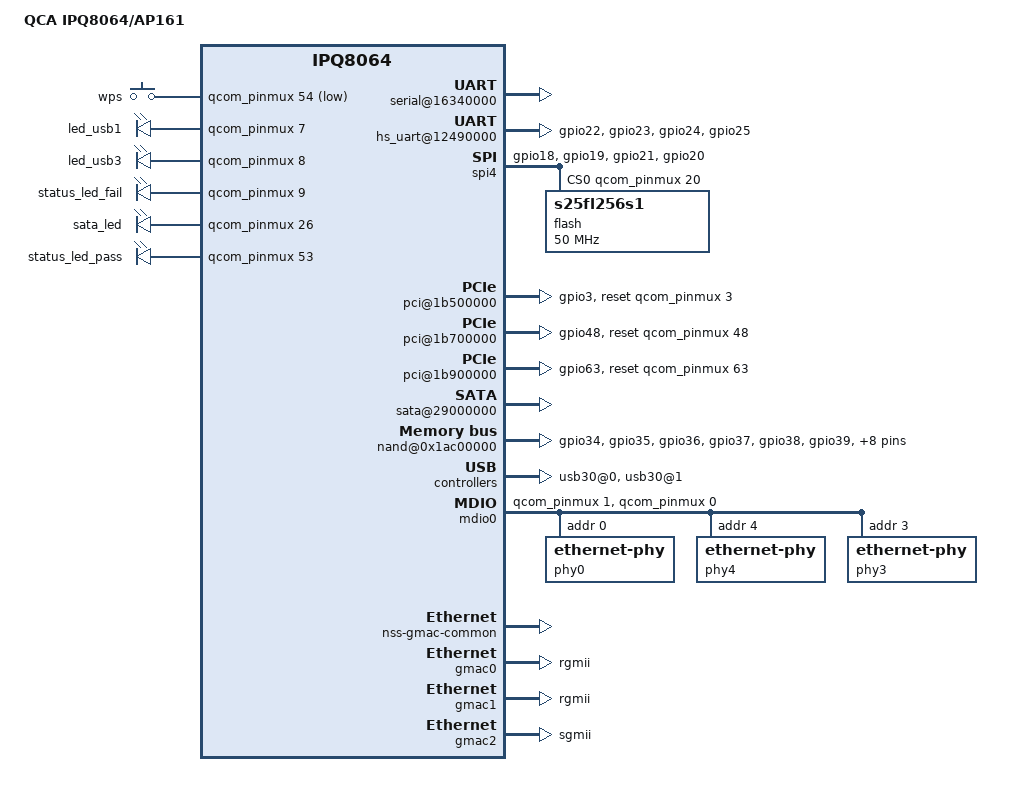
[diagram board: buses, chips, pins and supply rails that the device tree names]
/* Copyright (c) 2015, 2016 The Linux Foundation. All rights reserved.
 *
 * Permission to use, copy, modify, and/or distribute this software for any
 * purpose with or without fee is hereby granted, provided that the above
 * copyright notice and this permission notice appear in all copies.
 *
 * THE SOFTWARE IS PROVIDED "AS IS" AND THE AUTHOR DISCLAIMS ALL WARRANTIES
 * WITH REGARD TO THIS SOFTWARE INCLUDING ALL IMPLIED WARRANTIES OF
 * MERCHANTABILITY AND FITNESS. IN NO EVENT SHALL THE AUTHOR BE LIABLE FOR
 * ANY SPECIAL, DIRECT, INDIRECT, OR CONSEQUENTIAL DAMAGES OR ANY DAMAGES
 * WHATSOEVER RESULTING FROM LOSS OF USE, DATA OR PROFITS, WHETHER IN AN
 * ACTION OF CONTRACT, NEGLIGENCE OR OTHER TORTIOUS ACTION, ARISING OUT OF
 * OR IN CONNECTION WITH THE USE OR PERFORMANCE OF THIS SOFTWARE.
 *
 */

#include <dt-bindings/interrupt-controller/arm-gic.h>
#include <dt-bindings/interrupt-controller/irq.h>
#include <dt-bindings/input/input.h>
#include <dt-bindings/gpio/gpio.h>

/ {
	model = "QCA IPQ8064/AP161";
	compatible = "qcom,ipq8064-ap161", "qcom,ipq8064";

	reserved-memory {
		#address-cells = <1>;
		#size-cells = <1>;
		ranges;
		rsvd@41200000 {
			reg = <0x41200000 0x300000>;
			no-map;
		};
	};

	aliases {
		mdio-gpio0 = &mdio0;
		/*
		 * U-Boot searches for these entries and patches
		 * 'local-mac-address'
		 */
		ethernet0 = &gmac0;
		ethernet1 = &gmac1;
		ethernet2 = &gmac2;
	};

	soc {
		pinmux@800000 {
			pinctrl-0 = <&rgmii2_pins_default>;
			pinctrl-names = "default";

			pcie1_pins: pcie1_pinmux {
				mux {
					pins = "gpio3";
					drive-strength = <2>;
					bias-disable;
				};
			};

			pcie2_pins: pcie2_pinmux {
				mux {
					pins = "gpio48";
					drive-strength = <2>;
					bias-disable;
				};
			};

			pcie3_pins: pcie3_pinmux {
				mux {
					pins = "gpio63";
					drive-strength = <2>;
					bias-disable;
				};
			};

			spi_pins: spi_pins {
				mux {
					pins = "gpio18", "gpio19", "gpio21";
					function = "gsbi5";
					drive-strength = <10>;
					bias-none;
				};
				cs {
					pins = "gpio20";
					drive-strength = <12>;
				};
			};
			nand_pins: nand_pins {
				mux {
					pins = "gpio34", "gpio35", "gpio36",
						"gpio37", "gpio38", "gpio39",
						"gpio40", "gpio41", "gpio42",
						"gpio43", "gpio44", "gpio45",
						"gpio46", "gpio47";
					function = "nand";
					drive-strength = <10>;
					bias-disable;
				};
				pullups {
					pins = "gpio39";
					bias-pull-up;
				};
				hold {
					pins = "gpio40", "gpio41", "gpio42",
						"gpio43", "gpio44", "gpio45",
						"gpio46", "gpio47";
					bias-bus-hold;
				};
			};
			rgmii2_pins_default: rgmii2_pins_default {
				mux {
					pins = "gpio2", "gpio27", "gpio28",
						"gpio29", "gpio30", "gpio31",
						"gpio32", "gpio51", "gpio52",
						"gpio59", "gpio60", "gpio61",
						 "gpio62", "gpio66" ;
					function = "rgmii2";
					drive-strength = <8>;
					bias-disable;
				};

			};

			hs_uart_pins: hs_uart_pins {
				mux {
					pins = "gpio22", "gpio23", "gpio24", "gpio25" ;
					function = "gsbi2";
					drive-strength = <12>;
					bias-disable;
				};
			};

			i2c_pins: i2c_pins {
				mux {
					pins = "gpio53", "gpio54" ;
					function = "gsbi1";
					drive-strength = <12>;
					bias-disable;
				};
			};

			leds_pins: leds_pins {
				mux {
					pins = "gpio7", "gpio8", "gpio9",
					       "gpio26", "gpio53";
					function = "gpio";
					drive-strength = <2>;
					bias-pull-down;
					output-low;
				};
			};
		};

		gsbi1: gsbi@12440000 {
			qcom,mode = <GSBI_PROT_I2C>;
			status = "ok";
			i2c@12460000 {
				pinctrl-0 = <&i2c_pins>;
				pinctrl-names = "default";
				status = "disabled";
			};
		};

		gsbi@16300000 {
			qcom,mode = <GSBI_PROT_I2C_UART>;
			status = "ok";
			serial@16340000 {
				status = "ok";
			};
		};

		gsbi2: gsbi@12480000 {
			qcom,mode = <GSBI_PROT_UART_W_FC>;
			status = "ok";
			hs_uart@12490000 {
				uartdm_rx_buf_size = <1024>;
				qcom,rx-chan = <8>;
				qcom,tx-chan = <7>;
				qcom,rx-crci = <14>;
				qcom,tx-crci = <4>;
				qcom,tcsr_adm_mux_sel_reg = <IPQ806X_TCSR_REG_A_ADM_CRCI_MUX_SEL>;
				qcom,tcsr_adm_mux_sel_reg_mask = <IPQ806X_GSBI2_ADM_CRCI_MUX_SEL_MASK>;
				qcom,tcsr_adm_mux_sel_reg_value = <GSBI_CRCI_UART>;
				pinctrl-0 = <&hs_uart_pins>;
				pinctrl-names = "default";

				status = "ok";
			};
		};

		gsbi5: gsbi@1a200000 {
			qcom,mode = <GSBI_PROT_SPI>;
			status = "ok";

			spi4: spi@1a280000 {
				status = "ok";
				spi-max-frequency = <50000000>;

				pinctrl-0 = <&spi_pins>;
				pinctrl-names = "default";

				cs-gpios = <&qcom_pinmux 20 0>;

				dmas = <&adm_dma 6 9>,
					<&adm_dma 5 10>;
				dma-names = "rx", "tx";

				flash: m25p80@0 {
					compatible = "s25fl256s1";
					#address-cells = <1>;
					#size-cells = <1>;
					spi-max-frequency = <50000000>;
					reg = <0>;
					m25p,fast-read;
				};
			};
		};

		sata-phy@1b400000 {
			status = "ok";
		};

		pci@1b500000 {
			status = "ok";
			reset-gpio = <&qcom_pinmux 3 0>;
			pinctrl-0 = <&pcie1_pins>;
			pinctrl-names = "default";

			ranges = <0x00000000 0 0x00000000 0x0ff00000 0 0x00100000   /* configuration space */
				  0x81000000 0 0	  0x0fe00000 0 0x00100000   /* downstream I/O */
				  0x82000000 0 0x00000000 0x08000000 0 0x07e00000>; /* non-prefetchable memory */

			pcie@0 {
				reg = <0 0 0 0 0>;
				#interrupt-cells = <1>;
				#size-cells = <2>;
				#address-cells = <3>;
				device_type = "pci";

				ath10k@0,0 {
					reg = <0 0 0 0 0>;
					device_type = "pci";
					qcom,mtd-name = "0:ART";
					qcom,cal-offset = <0x1000>;
					qcom,cal-len = <12064>;
				};
			};

		};

		pci@1b700000 {
			status = "ok";
			reset-gpio = <&qcom_pinmux 48 0>;
			pinctrl-0 = <&pcie2_pins>;
			pinctrl-names = "default";

			ranges = <0x00000000 0 0x00000000 0x31f00000 0 0x00100000   /* configuration space */
				  0x81000000 0 0	  0x31e00000 0 0x00100000   /* downstream I/O */
				  0x82000000 0 0x00000000 0x2e000000 0 0x03e00000>; /* non-prefetchable memory */

			pcie@0 {
				reg = <0 0 0 0 0>;
				#interrupt-cells = <1>;
				#size-cells = <2>;
				#address-cells = <3>;
				device_type = "pci";

				ath10k@0,0 {
					reg = <0 0 0 0 0>;
					device_type = "pci";
					qcom,mtd-name = "0:ART";
					qcom,cal-offset = <0x5000>;
					qcom,cal-len = <12064>;
				};
			};
		};

		pci@1b900000 {
			status = "ok";
			reset-gpio = <&qcom_pinmux 63 0>;
			pinctrl-0 = <&pcie3_pins>;
			pinctrl-names = "default";

			ranges = <0x00000000 0 0x00000000 0x35f00000 0 0x00100000   /* configuration space */
				  0x81000000 0 0          0x35e00000 0 0x00100000   /* downstream I/O */
				  0x82000000 0 0x00000000 0x32000000 0 0x03e00000>; /* non-prefetchable memory */

			pcie@0 {
				reg = <0 0 0 0 0>;
				#interrupt-cells = <1>;
				#size-cells = <2>;
				#address-cells = <3>;
				device_type = "pci";

				ath10k@0,0 {
					reg = <0 0 0 0 0>;
					device_type = "pci";
					qcom,mtd-name = "0:ART";
					qcom,cal-offset = <0x9000>;
					qcom,cal-len = <2116>;
				};
			};
		};

		sata@29000000 {
			status = "ok";
		};

		dma@18300000 {
			status = "ok";
		};

		nand@0x1ac00000 {
			status = "ok";

			pinctrl-0 = <&nand_pins>;
			pinctrl-names = "default";
		};

		tcsr@1a400000 {
			status = "ok";
		};

		phy@100f8800 {		/* USB3 port 1 HS phy */
			status = "ok";
		};

		phy@100f8830 {		/* USB3 port 1 SS phy */
			status = "ok";
		};

		phy@110f8800 {		/* USB3 port 0 HS phy */
			status = "ok";
		};

		phy@110f8830 {		/* USB3 port 0 SS phy */
			status = "ok";
		};

		usb30@0 {
			status = "ok";
		};

		usb30@1 {
			status = "ok";
		};

		gpio_keys {
			compatible = "gpio-keys";

			button@1 {
				label = "wps";
				linux,code = <KEY_WPS_BUTTON>;
				gpios = <&qcom_pinmux 54 GPIO_ACTIVE_LOW>;
				linux,input-type = <1>;
				debounce-interval = <60>;
			};
		};

		leds {
			compatible = "gpio-leds";
			pinctrl-0 = <&leds_pins>;
			pinctrl-names = "default";

			led@7 {
				label = "led_usb1";
				gpios = <&qcom_pinmux 7 GPIO_ACTIVE_HIGH>;
				linux,default-trigger = "usbdev";
				default-state = "off";
			};

			led@8 {
				label = "led_usb3";
				gpios = <&qcom_pinmux 8 GPIO_ACTIVE_HIGH>;
				linux,default-trigger = "usbdev";
				default-state = "off";
			};

			led@9 {
				label = "status_led_fail";
				gpios = <&qcom_pinmux 9 GPIO_ACTIVE_HIGH>;
				default-state = "off";
			};

			led@26 {
				label = "sata_led";
				gpios = <&qcom_pinmux 26 GPIO_ACTIVE_HIGH>;
				default-state = "off";
			};

			led@53 {
				label = "status_led_pass";
				gpios = <&qcom_pinmux 53 GPIO_ACTIVE_HIGH>;
				default-state = "off";
			};
		};

		mdio0: mdio {
			compatible = "virtual,mdio-gpio";
			#address-cells = <1>;
			#size-cells = <0>;
			gpios = <&qcom_pinmux 1 0 &qcom_pinmux 0 0>;

			phy0: ethernet-phy@0 {
				device_type = "ethernet-phy";
				reg = <0>;
				qca,ar8327-initvals = <
					0x00004 0x7600000   /* PAD0_MODE */
					0x00008 0x1000000   /* PAD5_MODE */
					0x0000c 0x20080        /* PAD6_MODE */
					0x000e4 0x6a545     /* MAC_POWER_SEL */
					0x000e0 0xc74164de  /* SGMII_CTRL */
					0x0007c 0x4e        /* PORT0_STATUS */
					0x00094 0x4e        /* PORT6_STATUS */
				>;
			};

			phy4: ethernet-phy@4 {
				device_type = "ethernet-phy";
				reg = <4>;
				phy_rgmii_en = <1>;
				txclk_delay_en = <1>;
				rxclk_delay_en = <1>;
			};

			phy3: ethernet-phy@3 {
				device_type = "ethernet-phy";
				reg = <3>;
			};
		};

		nss0: nss@40000000 {
			compatible = "qcom,nss";
			interrupts = <GIC_SPI 213 IRQ_TYPE_LEVEL_HIGH>,
				     <GIC_SPI 232 IRQ_TYPE_LEVEL_HIGH>;
			reg = <0x36000000 0x1000 0x39000000 0x10000>;
			reg-names = "nphys", "vphys";
			clocks = <&gcc NSS_CORE_CLK>, <&gcc NSSTCM_CLK_SRC>,
				 <&gcc NSSTCM_CLK>, <&nss_fabric0_clk>,
				 <&nss_fabric1_clk>;
			clock-names = "nss-core-clk", "nss-tcm-src",
				      "nss-tcm-clk", "nss-fab0-clk",
				      "nss-fab1-clk";
			resets = <&gcc UBI32_CORE1_CLKRST_CLAMP_RESET>,
				 <&gcc UBI32_CORE1_CLAMP_RESET>,
				 <&gcc UBI32_CORE1_AHB_RESET>,
				 <&gcc UBI32_CORE1_AXI_RESET>;
			reset-names = "clkrst-clamp", "clamp", "ahb", "axi";

			qcom,id = <0>;
			qcom,num-irq = <2>;
			qcom,num-queue = <2>;
			qcom,load-addr = <0x40000000>;
			qcom,turbo-frequency;

			qcom,ipv4-enabled;
			qcom,ipv6-enabled;
			qcom,l2tpv2-enabled;
			qcom,gre-enabled;
			qcom,map-t-enabled;
			qcom,pptp-enabled;
			qcom,portid-enabled;
			qcom,shaping-enabled;
			qcom,tun6rd-enabled;
			qcom,tunipip6-enabled;
			qcom,wlan-dataplane-offload-enabled;
			qcom,wlanredirect-enabled;
		};

		nss1: nss@40800000 {
			compatible = "qcom,nss";
			interrupts = <GIC_SPI 214 IRQ_TYPE_LEVEL_HIGH>,
				     <GIC_SPI 233 IRQ_TYPE_LEVEL_HIGH>;
			reg = <0x36400000 0x1000 0x39010000 0x10000>;
			reg-names = "nphys", "vphys";
			resets = <&gcc UBI32_CORE2_CLKRST_CLAMP_RESET>,
				 <&gcc UBI32_CORE2_CLAMP_RESET>,
				 <&gcc UBI32_CORE2_AHB_RESET>,
				 <&gcc UBI32_CORE2_AXI_RESET>;
			reset-names = "clkrst-clamp", "clamp", "ahb", "axi";

			qcom,id = <1>;
			qcom,num-irq = <2>;
			qcom,load-addr = <0x40800000>;
			qcom,num-queue = <2>;
			qcom,turbo-frequency;

			qcom,capwap-enabled;
			qcom,crypto-enabled;
			qcom,dtls-enabled;
			qcom,ipsec-enabled;
		};

		nss-gmac-common {
			compatible = "qcom,nss-gmac-common";
			reg = <0x03000000 0x0000FFFF 0x1bb00000 0x0000FFFF 0x00900000 0x00004000>;
			reg-names = "nss_reg_base" , "qsgmii_reg_base", "clk_ctl_base";
		};

		gmac0: ethernet@37000000 {
			device_type = "network";
			compatible = "qcom,nss-gmac";
			reg = <0x37000000 0x200000>;
			interrupts = <GIC_SPI 220 IRQ_TYPE_LEVEL_HIGH>;
			phy-mode = "rgmii";
			qcom,id = <0>;
			qcom,pcs-chanid = <0>;
			qcom,phy-mdio-addr = <4>;
			qcom,poll-required = <1>;
			qcom,rgmii-delay = <1>;
			qcom,emulation = <0>;
			qcom,forced-speed = <0>;
			qcom,forced-duplex = <0xFF>;
			qcom,socver = <0>;
			local-mac-address = [000000000000];
			mdiobus = <&mdio0>;
		};

		gmac1: ethernet@37200000 {
			device_type = "network";
			compatible = "qcom,nss-gmac";
			reg = <0x37200000 0x200000>;
			interrupts = <GIC_SPI 223 IRQ_TYPE_LEVEL_HIGH>;
			phy-mode = "rgmii";
			qcom,id = <1>;
			qcom,pcs-chanid = <1>;
			qcom,phy-mdio-addr = <0>;
			qcom,poll-required = <0>;
			qcom,rgmii-delay = <0>;
			qcom,emulation = <0>;
			qcom,forced-speed = <1000>;
			qcom,forced-duplex = <1>;
			qcom,socver = <0>;
			local-mac-address = [000000000000];
			mdiobus = <&mdio0>;
		};

		gmac2: ethernet@37400000 {
			device_type = "network";
			compatible = "qcom,nss-gmac";
			reg = <0x37400000 0x200000>;
			interrupts = <GIC_SPI 226 IRQ_TYPE_LEVEL_HIGH>;
			phy-mode = "sgmii";
			qcom,id = <2>;
			qcom,pcs-chanid = <2>;
			qcom,phy-mdio-addr = <3>;
			qcom,poll-required = <1>;
			qcom,rgmii-delay = <0>;
			qcom,emulation = <0>;
			qcom,forced-speed = <1000>;
			qcom,forced-duplex = <1>;
			qcom,socver = <0>;
			local-mac-address = [000000000000];
			mdiobus = <&mdio0>;
		};

		crypto1: crypto@38000000 {
			compatible = "qcom,nss-crypto";
			reg-names = "crypto_pbase", "bam_base";
			reg = <0x38000000 0x20000>,
			    <0x38004000 0x22000>;
                        resets = <&gcc CRYPTO_ENG1_RESET>,
                                 <&gcc CRYPTO_AHB_RESET>;
                        reset-names = "rst_eng", "rst_ahb";
			clocks = <&gcc CE5_CORE_CLK>, <&gcc CE5_A_CLK>, <&gcc CE5_H_CLK>;
			clock-names = "ce5_core", "ce5_aclk", "ce5_hclk";
			qcom,ee = <0>;
		};

		crypto2: crypto@38400000 {
			compatible = "qcom,nss-crypto";
			reg-names = "crypto_pbase", "bam_base";
			reg = <0x38400000 0x20000>,
			    <0x38404000 0x22000>;
                        resets = <&gcc CRYPTO_ENG2_RESET>;
                        reset-names = "rst_eng";
			qcom,ee = <0>;
		};

		crypto3: crypto@38800000 {
			compatible = "qcom,nss-crypto";
			reg-names = "crypto_pbase", "bam_base";
			reg = <0x38800000 0x20000>,
			    <0x38804000 0x22000>;
                        resets = <&gcc CRYPTO_ENG3_RESET>;
                        reset-names = "rst_eng";
			qcom,ee = <0>;
		};

		crypto4: crypto@38C00000 {
			compatible = "qcom,nss-crypto";
			reg-names = "crypto_pbase", "bam_base";
			reg = <0x38C00000 0x20000>,
			    <0x38C04000 0x22000>;
                        resets = <&gcc CRYPTO_ENG4_RESET>;
                        reset-names = "rst_eng";
			qcom,ee = <0>;
		};

	};
};
